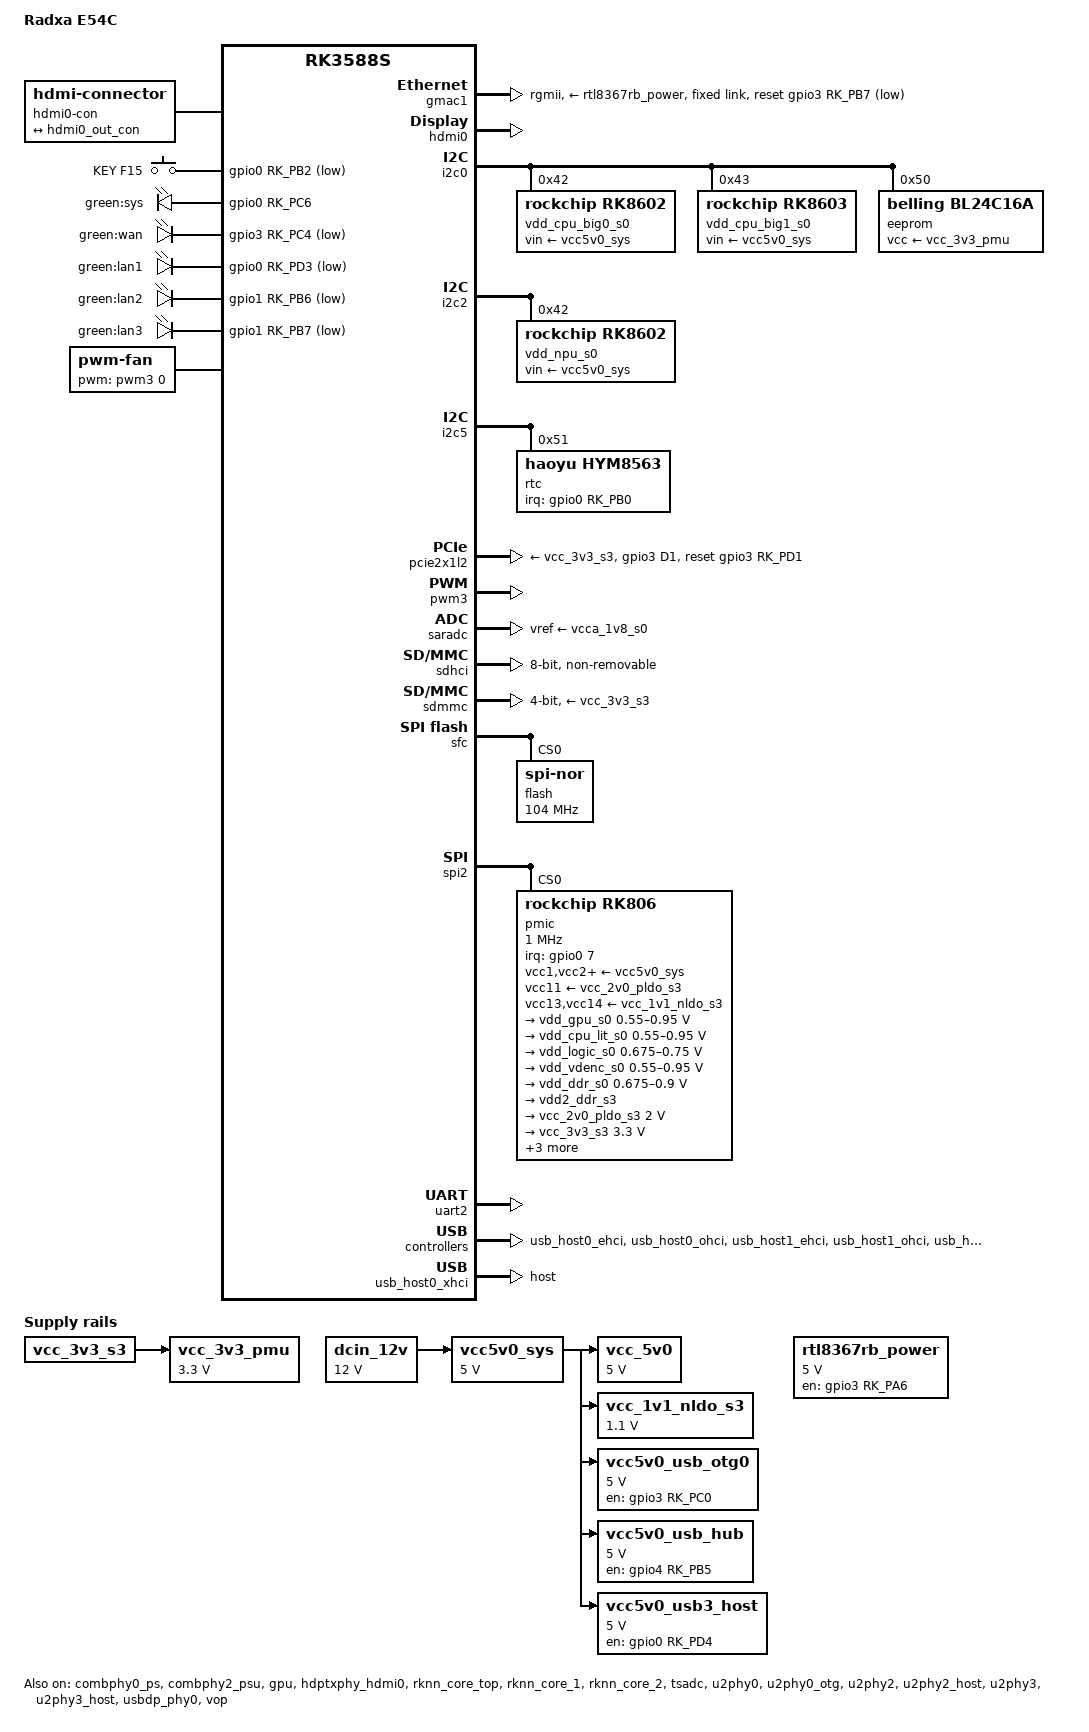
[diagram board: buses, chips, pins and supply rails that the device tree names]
// SPDX-License-Identifier: (GPL-2.0+ OR MIT)
/*
 * Copyright (c) 2024 Radxa Computer (Shenzhen) Co., Ltd.
 */

/dts-v1/;

#include <dt-bindings/gpio/gpio.h>
#include <dt-bindings/input/input.h>
#include <dt-bindings/leds/common.h>
#include <dt-bindings/pinctrl/rockchip.h>
#include <dt-bindings/soc/rockchip,vop2.h>
#include "rk3588s.dtsi"

/ {
        model = "Radxa E54C";
        compatible = "radxa,e54c", "rockchip,rk3582", "rockchip,rk3588s";

        aliases {
                mmc0 = &sdmmc;
                mmc1 = &sdhci;
        };

        chosen {
                stdout-path = "serial2:1500000n8";
        };

        hdmi0-con {
                compatible = "hdmi-connector";
                type = "a";

                port {
                        hdmi0_con_in: endpoint {
                                remote-endpoint = <&hdmi0_out_con>;
                        };
                };
        };

        gpio-keys {
                compatible = "gpio-keys";
                pinctrl-names = "default";
                pinctrl-0 = <&user_key>;
                autorepeat;

                user-key {
                        label = "KEY F15";
                        linux,code = <KEY_F15>;
                        gpios = <&gpio0 RK_PB2 GPIO_ACTIVE_LOW>;
                        debounce-interval = <50>;
                };
        };

        gpio-leds {
                compatible = "gpio-leds";

                sys_led:  sys-led {
                        gpios = <&gpio0 RK_PC6 GPIO_ACTIVE_HIGH>;
                        label = "green:sys";
                        linux,default-trigger = "heartbeat";
                };

                wan_led: wan-led {
                        gpios = <&gpio3 RK_PC4 GPIO_ACTIVE_LOW>;
                        label = "green:wan";
                        linux,default-trigger = "netdev";
                };

                lan1_led: lan1-led {
                        gpios = <&gpio0 RK_PD3 GPIO_ACTIVE_LOW>;
                        label = "green:lan1";
                        linux,default-trigger = "netdev";
                };

                lan2_led: lan2-led {
                        gpios = <&gpio1 RK_PB6 GPIO_ACTIVE_LOW>;
                        label = "green:lan2";
                        linux,default-trigger = "netdev";
                };

                lan3_led: lan3-led {
                        gpios = <&gpio1 RK_PB7 GPIO_ACTIVE_LOW>;
                        label = "green:lan3";
                        linux,default-trigger = "netdev";
                };
        };

        dcin_12v: dcin-12v {
                compatible = "regulator-fixed";
                regulator-name = "dcin-12v";
                regulator-always-on;
                regulator-boot-on;
                regulator-min-microvolt = <12000000>;
                regulator-max-microvolt = <12000000>;
        };

        vcc5v0_sys: vcc5v0-sys {
                compatible = "regulator-fixed";
                regulator-name = "vcc5v0_sys";
                regulator-min-microvolt = <5000000>;
                regulator-max-microvolt = <5000000>;
                regulator-always-on;
                regulator-boot-on;
                vin-supply = <&dcin_12v>;
        };

        vcc_5v0: vcc-5v0 {
                compatible = "regulator-fixed";
                regulator-name = "vcc_5v0";
                regulator-min-microvolt = <5000000>;
                regulator-max-microvolt = <5000000>;
                regulator-boot-on;
                regulator-always-on;
                vin-supply = <&vcc5v0_sys>;
        };

        vcc_1v1_nldo_s3: vcc-1v1-nldo-s3 {
                compatible = "regulator-fixed";
                regulator-name = "vcc_1v1_nldo_s3";
                regulator-always-on;
                regulator-boot-on;
                regulator-min-microvolt = <1100000>;
                regulator-max-microvolt = <1100000>;
                vin-supply = <&vcc5v0_sys>;
        };

        vcc_3v3_pmu: regulator-vcc-3v3-pmu {
                compatible = "regulator-fixed";
                regulator-name = "vcc_3v3_pmu";
                regulator-always-on;
                regulator-boot-on;
                regulator-min-microvolt = <3300000>;
                regulator-max-microvolt = <3300000>;
                vin-supply = <&vcc_3v3_s3>;
        };

        vcc5v0_usb_otg0: vcc5v0-usb-otg0-regulator {
                compatible = "regulator-fixed";
                regulator-name = "vcc5v0_usb_otg0";
                regulator-min-microvolt = <5000000>;
                regulator-max-microvolt = <5000000>;
                enable-active-high;
                gpio = <&gpio3 RK_PC0 GPIO_ACTIVE_HIGH>;
                pinctrl-names = "default";
                pinctrl-0 = <&vcc5v0_usb_otg0_en>;
                vin-supply = <&vcc5v0_sys>;
        };

        vcc5v0_usb_hub: vcc5v0-usb-hub-regulator {
                compatible = "regulator-fixed";
                regulator-name = "vcc5v0_usb_hub";
                regulator-min-microvolt = <5000000>;
                regulator-max-microvolt = <5000000>;
                enable-active-high;
                gpio = <&gpio4 RK_PB5 GPIO_ACTIVE_HIGH>;
                pinctrl-names = "default";
                pinctrl-0 = <&vcc5v0_usb_hub_en>;
                vin-supply = <&vcc5v0_sys>;
        };

        vcc5v0_usb3_host: vcc5v0-usb3-host-regulator {
                compatible = "regulator-fixed";
                regulator-name = "vcc5v0_usb3_host";
                regulator-min-microvolt = <5000000>;
                regulator-max-microvolt = <5000000>;
                enable-active-high;
                gpio = <&gpio0 RK_PD4 GPIO_ACTIVE_HIGH>;
                pinctrl-names = "default";
                pinctrl-0 = <&vcc5v0_usb3_host_en>;
                vin-supply = <&vcc5v0_sys>;
        };

        rtl8367rb_power: rtl8367rb-power-regulator {
                compatible = "regulator-fixed";
                regulator-name = "rtl8367rb_power";
                regulator-min-microvolt = <5000000>;
                regulator-max-microvolt = <5000000>;
                enable-active-high;
                regulator-boot-on;
                regulator-always-on;
                gpio = <&gpio3 RK_PA6 GPIO_ACTIVE_HIGH>;
                pinctrl-names = "default";
                pinctrl-0 = <&rtl8367rb_power_en>;
        };

        fan: pwm-fan {
                compatible = "pwm-fan";
                #cooling-cells = <2>;
                cooling-levels = <0 64 128 192 255>;
                pwms = <&pwm3 0 10000 0>;
        };

	/* RTL8367RB-VB (num:6367 ver:0020) */
        switch0: switch0 {
                compatible = "realtek,rtl8367b";
                realtek,extif = <6 1 0 1 1 1 1 1 1 2>;
                mii-bus = <&mdio1>;
                phy-id = <29>;
        };
};

/* pcie2x1l2 phy */
&combphy0_ps {
        status = "okay";
};

&combphy2_psu {
        status = "okay";
};

/*
 * In the Rockchip RK3582 SoC, some CPU cores end up disabled
 * and unused because they're marked in the efuses as defective.
 * The disabling in the DT is performed by the boot loader.
 */
&cpu_b0 {
        cpu-supply = <&vdd_cpu_big0_s0>;
};

&cpu_b1 {
        cpu-supply = <&vdd_cpu_big0_s0>;
};

&cpu_b2 {
        cpu-supply = <&vdd_cpu_big1_s0>;
};

&cpu_b3 {
        cpu-supply = <&vdd_cpu_big1_s0>;
};

&cpu_l0 {
        cpu-supply = <&vdd_cpu_lit_s0>;
};

&cpu_l1 {
        cpu-supply = <&vdd_cpu_lit_s0>;
};

&cpu_l2 {
        cpu-supply = <&vdd_cpu_lit_s0>;
};

&cpu_l3 {
        cpu-supply = <&vdd_cpu_lit_s0>;
};

/*
 * The stmmac driver used by rk3588 has a bug in VLAN.
 * Instead of hacking it, use the legacy switch driver
 * first. Obviously this is not a DSA driver bug.
 */
&gmac1 {
        status = "okay";
        phy-mode = "rgmii";
	phy-supply = <&rtl8367rb_power>;
        clock_in_out = "output";

        pinctrl-names = "default";
        pinctrl-0 = <&gmac1_miim
                     &gmac1_tx_bus2
                     &gmac1_rx_bus2
                     &gmac1_rgmii_clk
                     &gmac1_rgmii_bus>;

        snps,reset-active-low;
        snps,reset-delays-us = <0 10000 10000>;
        snps,reset-gpio = <&gpio3 RK_PB7 GPIO_ACTIVE_LOW>;

        tx_delay = <0x0f>;
        rx_delay = <0x00>;

        fixed-link {
                speed = <1000>;
                full-duplex;
        };
};

&gpu {
        mali-supply = <&vdd_gpu_s0>;
        status = "okay";
};

&hdmi0 {
        pinctrl-names = "default";
        pinctrl-0 = <&hdmim0_tx0_cec
                     &hdmim1_tx0_hpd
                     &hdmim0_tx0_scl
                     &hdmim0_tx0_sda>;
        status = "okay";
};

&hdmi0_in {
        hdmi0_in_vp0: endpoint {
                remote-endpoint = <&vp0_out_hdmi0>;
        };
};

&hdmi0_out {
        hdmi0_out_con: endpoint {
                remote-endpoint = <&hdmi0_con_in>;
        };
};

&hdptxphy_hdmi0 {
        status = "okay";
};

&i2c0 {
        pinctrl-names = "default";
        pinctrl-0 = <&i2c0m2_xfer>;
        status = "okay";

        vdd_cpu_big0_s0: regulator@42 {
                compatible = "rockchip,rk8602";
                reg = <0x42>;
                fcs,suspend-voltage-selector = <1>;
                regulator-name = "vdd_cpu_big0_s0";
                regulator-always-on;
                regulator-boot-on;
                regulator-min-microvolt = <550000>;
                regulator-max-microvolt = <1050000>;
                regulator-ramp-delay = <2300>;
                vin-supply = <&vcc5v0_sys>;

                regulator-state-mem {
                        regulator-off-in-suspend;
                };
        };

        vdd_cpu_big1_s0: regulator@43 {
                compatible = "rockchip,rk8603", "rockchip,rk8602";
                reg = <0x43>;
                fcs,suspend-voltage-selector = <1>;
                regulator-name = "vdd_cpu_big1_s0";
                regulator-always-on;
                regulator-boot-on;
                regulator-min-microvolt = <550000>;
                regulator-max-microvolt = <1050000>;
                regulator-ramp-delay = <2300>;
                vin-supply = <&vcc5v0_sys>;

                regulator-state-mem {
                        regulator-off-in-suspend;
                };
        };

        eeprom@50 {
                compatible = "belling,bl24c16a", "atmel,24c16";
                reg = <0x50>;
                pagesize = <16>;
                vcc-supply = <&vcc_3v3_pmu>;
        };
};

&i2c2 {
        status = "okay";

        vdd_npu_s0: vdd_npu_mem_s0: regulator@42 {
                compatible = "rockchip,rk8602";
                reg = <0x42>;
                fcs,suspend-voltage-selector = <1>;
                regulator-name = "vdd_npu_s0";
                regulator-always-on;
                regulator-boot-on;
                regulator-min-microvolt = <550000>;
                regulator-max-microvolt = <950000>;
                regulator-ramp-delay = <2300>;
                vin-supply = <&vcc5v0_sys>;

                regulator-state-mem {
                        regulator-off-in-suspend;
                };
        };
};

&i2c5 {
        pinctrl-names = "default";
        pinctrl-0 = <&i2c5m2_xfer>;
        status = "okay";

        rtc@51 {
                compatible = "haoyu,hym8563";
                reg = <0x51>;
                #clock-cells = <0>;
                clock-output-names = "rtcic_32kout";
                interrupt-parent = <&gpio0>;
                interrupts = <RK_PB0 IRQ_TYPE_LEVEL_LOW>;
                pinctrl-names = "default";
                pinctrl-0 = <&rtc_int_l>;
        };
};

&package_thermal {
        polling-delay = <1000>;

        trips {
                package_fan0: package-fan0 {
                        hysteresis = <2000>;
                        temperature = <50000>;
                        type = "active";
                };

                package_fan1: package-fan1 {
                        hysteresis = <2000>;
                        temperature = <65000>;
                        type = "active";
                };
        };

        cooling-maps {
                map0 {
                        cooling-device = <&fan THERMAL_NO_LIMIT 1>;
                        trip = <&package_fan0>;
                };
                map1 {
                        cooling-device = <&fan 2 THERMAL_NO_LIMIT>;
                        trip = <&package_fan1>;
                };
        };
};

/* M.2 M-KEY PCIe */
&pcie2x1l2 {
        pinctrl-names = "default";
        pinctrl-0 = <&pcie20x1_2_perstn_m0>;
        reset-gpios = <&gpio3 RK_PD1 GPIO_ACTIVE_HIGH>;
        vpcie3v3-supply = <&vcc_3v3_s3>;
        status = "okay";
};

&package_thermal {
        polling-delay = <1000>;

        trips {
                package_fan0: package-fan0 {
                        temperature = <55000>;
                        hysteresis = <2000>;
                        type = "active";
                };

                package_fan1: package-fan1 {
                        temperature = <65000>;
                        hysteresis = <2000>;
                        type = "active";
                };
        };

        cooling-maps {
                map0 {
                        trip = <&package_fan0>;
                        cooling-device = <&fan THERMAL_NO_LIMIT 1>;
                };

                map1 {
                        trip = <&package_fan1>;
                        cooling-device = <&fan 2 THERMAL_NO_LIMIT>;
                };
        };
};

&pd_gpu {
        domain-supply = <&vdd_gpu_s0>;
};

&pinctrl {
        keys {
                user_key: user-key {
                        rockchip,pins = <0 RK_PB2 RK_FUNC_GPIO &pcfg_pull_up>;
                };
        };

        pcie {
                pcie20x1_2_perstn_m0: pcie20x1-2-perstn-m0 {
                        rockchip,pins = <3 RK_PD1 RK_FUNC_GPIO &pcfg_pull_none>;
                };

                pow_en: pow-en {
                        rockchip,pins = <0 RK_PC5 RK_FUNC_GPIO &pcfg_pull_none>;
                };
        };

        rtc {
                rtc_int_l: rtc-int-l {
                        rockchip,pins = <0 RK_PB0 RK_FUNC_GPIO &pcfg_pull_none>;
                };
        };

        rtl8367rb {
                rtl8367rb_power_en: rtl8367rb-power-en {
                        rockchip,pins = <3 RK_PA6 RK_FUNC_GPIO &pcfg_pull_none>;
                };
        };

        usb {
                vcc5v0_usb_otg0_en: vcc5v0-usb-otg0-en {
                        rockchip,pins = <3 RK_PC0 RK_FUNC_GPIO &pcfg_pull_none>;
                };

                vcc5v0_usb_hub_en: vcc5v0-usb-hub-en {
                        rockchip,pins = <4 RK_PB5 RK_FUNC_GPIO &pcfg_pull_none>;
                };

                vcc5v0_usb3_host_en: vcc5v0-usb3-host-en {
                        rockchip,pins = <0 RK_PD4 RK_FUNC_GPIO &pcfg_pull_none>;
                };

                usbc0_int: usbc0-int {
                        rockchip,pins = <1 RK_PA7 RK_FUNC_GPIO &pcfg_pull_up>;
                };
        };
};

&pwm3 {
        pinctrl-names = "default";
        pinctrl-0 = <&pwm3m1_pins>;
        status = "okay";
};

&rknn_core_top {
        npu-supply = <&vdd_npu_s0>;
        sram-supply = <&vdd_npu_mem_s0>;
        status = "okay";
};

&rknn_core_1 {
        npu-supply = <&vdd_npu_s0>;
        sram-supply = <&vdd_npu_mem_s0>;
        status = "okay";
};

&rknn_core_2 {
        npu-supply = <&vdd_npu_s0>;
        sram-supply = <&vdd_npu_mem_s0>;
        status = "okay";
};

&rknn_mmu_top {
        status = "okay";
};

&rknn_mmu_1 {
        status = "okay";
};

&rknn_mmu_2 {
        status = "okay";
};

&saradc {
        vref-supply = <&vcca_1v8_s0>;
        status = "okay";
};

&sdhci {
        bus-width = <8>;
        mmc-hs400-1_8v;
        mmc-hs400-enhanced-strobe;
        no-sdio;
        no-sd;
        non-removable;
        status = "okay";
};

&sdmmc {
        bus-width = <4>;
        cap-mmc-highspeed;
        cap-sd-highspeed;
        disable-wp;
        no-sdio;
        no-mmc;
        sd-uhs-sdr104;
        vmmc-supply = <&vcc_3v3_s3>;
        vqmmc-supply = <&vccio_sd_s0>;
        status = "okay";
};

&sfc {
        pinctrl-names = "default";
        pinctrl-0 = <&fspim0_pins>;

        flash@0 {
                compatible = "jedec,spi-nor";
                reg = <0>;
                spi-max-frequency = <104000000>;
                spi-rx-bus-width = <4>;
                spi-tx-bus-width = <1>;
        };
};

&spi2 {
        status = "okay";
        assigned-clocks = <&cru CLK_SPI2>;
        assigned-clock-rates = <200000000>;
        num-cs = <1>;
        pinctrl-names = "default";
        pinctrl-0 = <&spi2m2_cs0 &spi2m2_pins>;

        pmic@0 {
                compatible = "rockchip,rk806";
                reg = <0>;
                gpio-controller;
                #gpio-cells = <2>;
                interrupt-parent = <&gpio0>;
                interrupts = <7 IRQ_TYPE_LEVEL_LOW>;
                pinctrl-names = "default";
                pinctrl-0 = <&pmic_pins>, <&rk806_dvs1_null>,
                            <&rk806_dvs2_null>, <&rk806_dvs3_null>;
                spi-max-frequency = <1000000>;
                system-power-controller;

                vcc1-supply = <&vcc5v0_sys>;
                vcc2-supply = <&vcc5v0_sys>;
                vcc3-supply = <&vcc5v0_sys>;
                vcc4-supply = <&vcc5v0_sys>;
                vcc5-supply = <&vcc5v0_sys>;
                vcc6-supply = <&vcc5v0_sys>;
                vcc7-supply = <&vcc5v0_sys>;
                vcc8-supply = <&vcc5v0_sys>;
                vcc9-supply = <&vcc5v0_sys>;
                vcc10-supply = <&vcc5v0_sys>;
                vcc11-supply = <&vcc_2v0_pldo_s3>;
                vcc12-supply = <&vcc5v0_sys>;
                vcc13-supply = <&vcc_1v1_nldo_s3>;
                vcc14-supply = <&vcc_1v1_nldo_s3>;
                vcca-supply = <&vcc5v0_sys>;

                rk806_dvs1_null: dvs1-null-pins {
                        pins = "gpio_pwrctrl1";
                        function = "pin_fun0";
                };

                rk806_dvs2_null: dvs2-null-pins {
                        pins = "gpio_pwrctrl2";
                        function = "pin_fun0";
                };

                rk806_dvs3_null: dvs3-null-pins {
                        pins = "gpio_pwrctrl3";
                        function = "pin_fun0";
                };

                regulators {
                        vdd_gpu_s0: dcdc-reg1 {
                                regulator-name = "vdd_gpu_s0";
                                regulator-boot-on;
                                regulator-min-microvolt = <550000>;
                                regulator-max-microvolt = <950000>;
                                regulator-ramp-delay = <12500>;
                                regulator-enable-ramp-delay = <400>;

                                regulator-state-mem {
                                        regulator-off-in-suspend;
                                };
                        };

                        vdd_cpu_lit_s0: dcdc-reg2 {
                                regulator-name = "vdd_cpu_lit_s0";
                                regulator-always-on;
                                regulator-boot-on;
                                regulator-min-microvolt = <550000>;
                                regulator-max-microvolt = <950000>;
                                regulator-ramp-delay = <12500>;

                                regulator-state-mem {
                                        regulator-off-in-suspend;
                                };
                        };

                        vdd_logic_s0: dcdc-reg3 {
                                regulator-name = "vdd_logic_s0";
                                regulator-always-on;
                                regulator-boot-on;
                                regulator-min-microvolt = <675000>;
                                regulator-max-microvolt = <750000>;
                                regulator-ramp-delay = <12500>;

                                regulator-state-mem {
                                        regulator-on-in-suspend;
                                        regulator-suspend-microvolt = <750000>;
                                };
                        };

                        vdd_vdenc_s0: dcdc-reg4 {
                                regulator-name = "vdd_vdenc_s0";
                                regulator-always-on;
                                regulator-boot-on;
                                regulator-min-microvolt = <550000>;
                                regulator-max-microvolt = <950000>;
                                regulator-ramp-delay = <12500>;

                                regulator-state-mem {
                                        regulator-off-in-suspend;
                                };
                        };

                        vdd_ddr_s0: dcdc-reg5 {
                                regulator-name = "vdd_ddr_s0";
                                regulator-always-on;
                                regulator-boot-on;
                                regulator-min-microvolt = <675000>;
                                regulator-max-microvolt = <900000>;
                                regulator-ramp-delay = <12500>;

                                regulator-state-mem {
                                        regulator-off-in-suspend;
                                        regulator-suspend-microvolt = <850000>;
                                };
                        };

                        vdd2_ddr_s3: dcdc-reg6 {
                                regulator-name = "vdd2_ddr_s3";
                                regulator-always-on;
                                regulator-boot-on;

                                regulator-state-mem {
                                        regulator-on-in-suspend;
                                };
                        };

                        vcc_2v0_pldo_s3: dcdc-reg7 {
                                regulator-name = "vcc_2v0_pldo_s3";
                                regulator-always-on;
                                regulator-boot-on;
                                regulator-min-microvolt = <2000000>;
                                regulator-max-microvolt = <2000000>;

                                regulator-state-mem {
                                        regulator-on-in-suspend;
                                        regulator-suspend-microvolt = <2000000>;
                                };
                        };

                        vcc_3v3_s3: dcdc-reg8 {
                                regulator-name = "vcc_3v3_s3";
                                regulator-always-on;
                                regulator-boot-on;
                                regulator-min-microvolt = <3300000>;
                                regulator-max-microvolt = <3300000>;

                                regulator-state-mem {
                                        regulator-on-in-suspend;
                                        regulator-suspend-microvolt = <3300000>;
                                };
                        };

                        vddq_ddr_s0: dcdc-reg9 {
                                regulator-name = "vddq_ddr_s0";
                                regulator-always-on;
                                regulator-boot-on;

                                regulator-state-mem {
                                        regulator-off-in-suspend;
                                };
                        };

                        vcc_1v8_s3: dcdc-reg10 {
                                regulator-name = "vcc_1v8_s3";
                                regulator-always-on;
                                regulator-boot-on;
                                regulator-min-microvolt = <1800000>;
                                regulator-max-microvolt = <1800000>;

                                regulator-state-mem {
                                        regulator-on-in-suspend;
                                        regulator-suspend-microvolt = <1800000>;
                                };
                        };

                        vcc_1v8_s0: pldo-reg1 {
                                regulator-name = "vcc_1v8_s0";
                                regulator-always-on;
                                regulator-boot-on;
                                regulator-min-microvolt = <1800000>;
                                regulator-max-microvolt = <1800000>;

                                regulator-state-mem {
                                        regulator-on-in-suspend;
                                        regulator-suspend-microvolt = <1800000>;
                                };
                        };

                        vcca_1v8_s0: pldo-reg2 {
                                regulator-name = "vcca_1v8_s0";
                                regulator-always-on;
                                regulator-boot-on;
                                regulator-min-microvolt = <1800000>;
                                regulator-max-microvolt = <1800000>;

                                regulator-state-mem {
                                        regulator-on-in-suspend;
                                        regulator-suspend-microvolt = <1800000>;
                                };
                        };

                        vdda_1v2_s0: pldo-reg3 {
                                regulator-name = "vdda_1v2_s0";
                                regulator-always-on;
                                regulator-boot-on;
                                regulator-min-microvolt = <1200000>;
                                regulator-max-microvolt = <1200000>;

                                regulator-state-mem {
                                        regulator-off-in-suspend;
                                };
                        };

                        vcca_3v3_s0: pldo-reg4 {
                                regulator-name = "vcca_3v3_s0";
                                regulator-always-on;
                                regulator-boot-on;
                                regulator-min-microvolt = <3300000>;
                                regulator-max-microvolt = <3300000>;

                                regulator-state-mem {
                                        regulator-on-in-suspend;
                                        regulator-suspend-microvolt = <3300000>;
                                };
                        };

                        vccio_sd_s0: pldo-reg5 {
                                regulator-name = "vccio_sd_s0";
                                regulator-always-on;
                                regulator-boot-on;
                                regulator-min-microvolt = <1800000>;
                                regulator-max-microvolt = <3300000>;

                                regulator-state-mem {
                                        regulator-off-in-suspend;
                                };
                        };

                        pldo6_s3: pldo-reg6 {
                                regulator-name = "pldo6_s3";
                                regulator-always-on;
                                regulator-boot-on;
                                regulator-min-microvolt = <1800000>;
                                regulator-max-microvolt = <1800000>;

                                regulator-state-mem {
                                        regulator-on-in-suspend;
                                        regulator-suspend-microvolt = <1800000>;
                                };
                        };

                        vdd_0v75_s3: nldo-reg1 {
                                regulator-name = "vdd_0v75_s3";
                                regulator-always-on;
                                regulator-boot-on;
                                regulator-min-microvolt = <750000>;
                                regulator-max-microvolt = <750000>;

                                regulator-state-mem {
                                        regulator-on-in-suspend;
                                        regulator-suspend-microvolt = <750000>;
                                };
                        };

                        vdda_ddr_pll_s0: nldo-reg2 {
                                regulator-name = "vdda_ddr_pll_s0";
                                regulator-always-on;
                                regulator-boot-on;
                                regulator-min-microvolt = <850000>;
                                regulator-max-microvolt = <850000>;

                                regulator-state-mem {
                                        regulator-on-in-suspend;
                                        regulator-suspend-microvolt = <850000>;
                                };
                        };

                        vdda_0v75_s0: nldo-reg3 {
                                regulator-name = "vdda_0v75_s0";
                                regulator-always-on;
                                regulator-boot-on;
                                regulator-min-microvolt = <750000>;
                                regulator-max-microvolt = <750000>;

                                regulator-state-mem {
                                        regulator-on-in-suspend;
                                        regulator-suspend-microvolt = <750000>;
                                };
                        };

                        vdda_0v85_s0: nldo-reg4 {
                                regulator-name = "vdda_0v85_s0";
                                regulator-always-on;
                                regulator-boot-on;
                                regulator-min-microvolt = <850000>;
                                regulator-max-microvolt = <850000>;

                                regulator-state-mem {
                                        regulator-off-in-suspend;
                                };
                        };

                        vdd_0v75_s0: nldo-reg5 {
                                regulator-name = "vdd_0v75_s0";
                                regulator-always-on;
                                regulator-boot-on;
                                regulator-min-microvolt = <750000>;
                                regulator-max-microvolt = <750000>;

                                regulator-state-mem {
                                        regulator-off-in-suspend;
                                };
                        };
                };
        };
};

&tsadc {
        status = "okay";
};

&u2phy0 {
        status = "okay";
};

&u2phy0_otg {
        phy-supply = <&vcc5v0_usb_otg0>;
        status = "okay";
};

&u2phy2 {
        status = "okay";
};

&u2phy2_host {
        phy-supply = <&vcc5v0_usb_hub>;
        status = "okay";
};

&u2phy3 {
        status = "okay";
};

&u2phy3_host {
        phy-supply = <&vcc5v0_usb3_host>;
        status = "okay";
};

&uart2 {
        pinctrl-0 = <&uart2m0_xfer>;
        status = "okay";
};

&usbdp_phy0 {
        status = "okay";
};

&usb_host0_ehci {
        status = "okay";
};

&usb_host0_ohci {
        status = "okay";
};

&usb_host0_xhci {
        dr_mode = "host";
        status = "okay";
};

&usb_host1_ehci {
        status = "okay";
};

&usb_host1_ohci {
        status = "okay";
};

&usb_host2_xhci {
        status = "okay";
};

&vop_mmu {
        status = "okay";
};

&vop {
        status = "okay";
};

&vp0 {
        vp0_out_hdmi0: endpoint@ROCKCHIP_VOP2_EP_HDMI0 {
                reg = <ROCKCHIP_VOP2_EP_HDMI0>;
                remote-endpoint = <&hdmi0_in_vp0>;
        };
};
